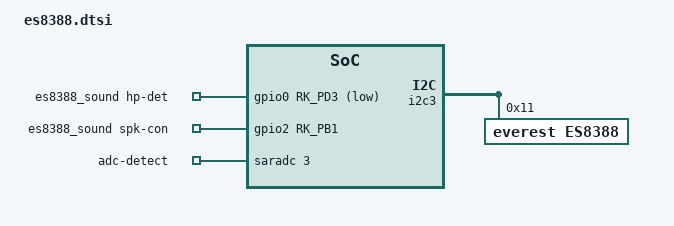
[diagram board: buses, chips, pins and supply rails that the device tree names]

/ {
	es8388_sound: es8388-sound {
		status = "okay";
		compatible = "rockchip,multicodecs-card";
		rockchip,card-name = "rockchip-es8388";
		hp-det-gpio = <&gpio0 RK_PD3 GPIO_ACTIVE_LOW>;
		io-channels = <&saradc 3>;
		io-channel-names = "adc-detect";
		keyup-threshold-microvolt = <1800000>;
		poll-interval = <100>;
		spk-con-gpio = <&gpio2 RK_PB1 GPIO_ACTIVE_HIGH>;
		/* hp-con-gpio = <&gpio3 RK_PD6 GPIO_ACTIVE_HIGH>; */
		rockchip,pre-power-on-delay-ms = <30>;
		rockchip,post-power-down-delay-ms = <40>;
		rockchip,format = "i2s";
		rockchip,mclk-fs = <256>;
		rockchip,cpu = <&sai1>;
		rockchip,codec = <&es8388>;
		rockchip,audio-routing =
			"Headphone", "LOUT1",
			"Headphone", "ROUT1",
			"Speaker", "LOUT2",
			"Speaker", "ROUT2",
			"Headphone", "Headphone Power",
			"Headphone", "Headphone Power",
			"Speaker", "Speaker Power",
			"Speaker", "Speaker Power",
			"LINPUT1", "Main Mic",
			"LINPUT2", "Main Mic",
			"RINPUT1", "Headset Mic",
			"RINPUT2", "Headset Mic";
		pinctrl-names = "default";
		pinctrl-0 = <&hp_det>;
		play-pause-key {
			label = "playpause";
			linux,code = <KEY_PLAYPAUSE>;
			press-threshold-microvolt = <2000>;
		};
	};	

};
&pinctrl {
	headphone {
		hp_det: hp-det {
			rockchip,pins = <0 RK_PD3 RK_FUNC_GPIO &pcfg_pull_none>;
		};
	};
};


&i2c3 {
	status = "okay";
	es8388: es8388@10 {
		status = "okay";
		#sound-dai-cells = <0>;
		compatible = "everest,es8388", "everest,es8323";
		reg = <0x11>;
		clocks = <&mclkout_sai1>;
		clock-names = "mclk";
		assigned-clocks = <&mclkout_sai1>;
		assigned-clock-rates = <12288000>;
		pinctrl-names = "default";
		pinctrl-0 = <&sai1m0_mclk>;
	};
};
